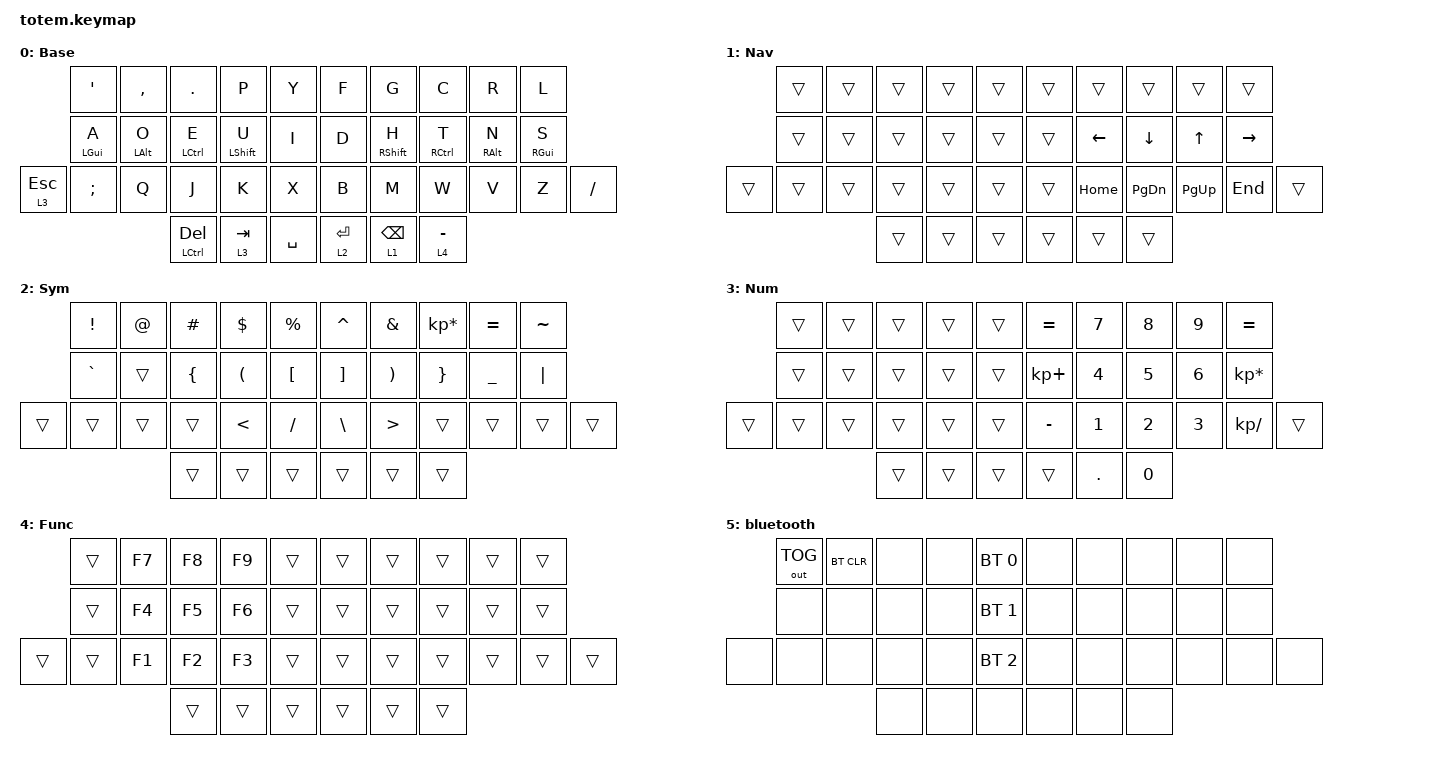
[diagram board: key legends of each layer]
//
//                                                        ▀▀▀▀▀     ▀▀▀▀▀          ▀▀█▀▀
//                                                        ▄▀▀▀▄  ▄  ▄▀▀▀▄  ▄  ▄▀▀▀▄  █  ▄▀▀▀▄
//                                                        █   █  █  █   █  █  █   █  █  █   █
//                                                         ▀▀▀   █   ▀▀▀   █   ▀▀▀   ▀   ▀▀▀
//                                                               █      ▄▄▄█▄▄▄    █   █  
//                                                               ▀      █  █  █     █▄█
//                                                             ▀▀▀▀▀    █  █  █      ▀
//                                                                      ▀  ▀  ▀
//
// ▄▄▄▄▄▄▄▄▄▄▄▄▄▄▄▄▄▄▄▄▄▄▄▄▄▄▄▄▄▄▄▄▄▄▄▄▄▄▄▄▄▄▄▄▄▄▄▄▄▄▄▄▄▄▄▄▄▄▄▄▄▄▄▄▄▄▄▄▄▄▄▄▄▄▄▄▄▄▄▄▄▄▄▄▄▄▄▄▄▄▄▄▄▄▄▄▄▄▄▄▄▄▄▄▄▄▄▄▄▄▄▄▄▄▄▄▄▄▄▄▄▄▄▄▄▄▄▄▄▄▄▄▄▄▄▄▄▄▄▄▄▄▄▄▄▄▄▄▄

#include <behaviors.dtsi>
#include <dt-bindings/zmk/bt.h>
#include <dt-bindings/zmk/keys.h>
#include <dt-bindings/zmk/outputs.h>

#define Base        0
#define Media       1
#define Nav         2
#define Mouse       3
#define Sym         4
#define Num         5
#define Fun         6
#define Button      7
#define Game        8
#define Gameplus    9

&mt {
    quick-tap-ms = <100>;
    global-quick-tap;
    flavor = "tap-preferred";
    tapping-term-ms = <170>;
};

&lt {
    tapping-term-ms = <240>;
    flavor = "balanced";
    quick-tap-ms = <150>;
};

/ {
    behaviors {
        hm: homerow_mods {
            compatible = "zmk,behavior-hold-tap";
            label = "HOMEROW_MODS";
            #binding-cells = <2>;
            flavor = "tap-preferred";
            tapping-term-ms = <200>;
            quick-tap-ms = <125>;
            global-quick-tap;
            bindings = <&kp>, <&kp>;
        };
    };

    combos {
        compatible = "zmk,combos";

        Capsword {
            bindings = <&caps_word>;
            key-positions = <13 16>;
            layers = <0>;
        };

        bt {
            bindings = <&tog 5>;
            key-positions = <20 31>;
            layers = <0 5>;
        };
    };

    keymap {
        compatible = "zmk,keymap";

        Base {
            label = "Base";
            bindings = <
              &kp SINGLE_QUOTE  &kp COMMA   &kp PERIOD     &kp P         &kp Y        &kp F      &kp G        &kp C        &kp R       &kp L
              &hm LGUI A        &hm LALT O  &hm LCTRL E    &hm LSHIFT U  &kp I        &kp D      &hm RSHFT H  &hm RCTRL T  &hm RALT N  &hm RGUI S
&lt 3 ESCAPE  &kp SEMI          &kp Q       &kp J          &kp K         &kp X        &kp B      &kp M        &kp W        &kp V       &kp Z       &kp SLASH
                                            &mt LCTRL DEL  &lt 3 TAB     &kp SPACE    &lt 2 RET  &lt 1 BSPC   &lt 4 MINUS
            >;
        };

        Nav {
            label = "Nav";
            bindings = <
        &trans  &trans  &trans  &trans  &trans    &trans  &trans    &trans     &trans        &trans
        &trans  &trans  &trans  &trans  &trans    &trans  &kp LEFT  &kp DOWN   &kp UP_ARROW  &kp RIGHT
&trans  &trans  &trans  &trans  &trans  &trans    &trans  &kp HOME  &kp PG_DN  &kp PG_UP     &kp END    &trans
                        &trans  &trans  &trans    &trans  &trans    &trans
            >;
        };

        Sym {
            label = "Sym";
            bindings = <
        &kp EXCL   &kp AT  &kp HASH        &kp DOLLAR            &kp PERCENT         &kp CARET          &kp AMPERSAND          &kp KP_ASTERISK  &kp EQUAL  &kp TILDE
        &kp GRAVE  &trans  &kp LEFT_BRACE  &kp LEFT_PARENTHESIS  &kp LEFT_BRACKET    &kp RIGHT_BRACKET  &kp RIGHT_PARENTHESIS  &kp RIGHT_BRACE  &kp UNDER  &kp PIPE
&trans  &trans     &trans  &trans          &kp LESS_THAN         &kp SLASH           &kp BACKSLASH      &kp GREATER_THAN       &trans           &trans     &trans     &trans
                           &trans          &trans                &trans              &trans             &trans                 &trans
            >;
        };

        Num {
            label = "Num";
            bindings = <
        &trans  &trans  &trans  &trans  &trans    &kp EQUAL    &kp N7        &kp N8        &kp N9        &kp EQUAL
        &trans  &trans  &trans  &trans  &trans    &kp KP_PLUS  &kp NUMBER_4  &kp N5        &kp NUMBER_6  &kp KP_MULTIPLY
&trans  &trans  &trans  &trans  &trans  &trans    &kp MINUS    &kp NUMBER_1  &kp NUMBER_2  &kp NUMBER_3  &kp KP_DIVIDE    &trans
                        &trans  &trans  &trans    &trans       &kp PERIOD    &kp N0
            >;
        };

        Func {
            bindings = <
        &trans  &kp F7  &kp F8  &kp F9  &trans    &trans  &trans  &trans  &trans  &trans
        &trans  &kp F4  &kp F5  &kp F6  &trans    &trans  &trans  &trans  &trans  &trans
&trans  &trans  &kp F1  &kp F2  &kp F3  &trans    &trans  &trans  &trans  &trans  &trans  &trans
                        &trans  &trans  &trans    &trans  &trans  &trans
            >;

            label = "Func";
        };

        bluetooth {
            bindings = <
       &out OUT_TOG  &bt BT_CLR  &none  &none  &bt BT_SEL 0    &none  &none  &none  &none  &none
       &none         &none       &none  &none  &bt BT_SEL 1    &none  &none  &none  &none  &none
&none  &none         &none       &none  &none  &bt BT_SEL 2    &none  &none  &none  &none  &none  &none
                                 &none  &none  &none           &none  &none  &none
            >;
        };
    };
};
